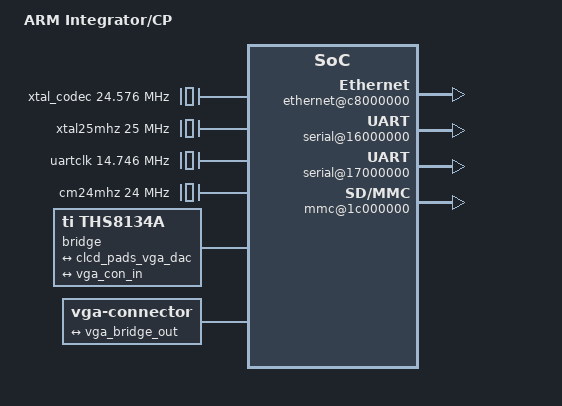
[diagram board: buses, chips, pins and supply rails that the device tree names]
// SPDX-License-Identifier: GPL-2.0
/*
 * Device Tree for the ARM Integrator/CP platform
 */

/dts-v1/;
/include/ "integrator.dtsi"

/ {
	model = "ARM Integrator/CP";
	compatible = "arm,integrator-cp";

	chosen {
		bootargs = "root=/dev/ram0 console=ttyAMA0,38400n8 earlyprintk";
	};

	cpus {
		#address-cells = <1>;
		#size-cells = <0>;

		cpu@0 {
			device_type = "cpu";
			/*
			 * Since the board has pluggable CPU modules, we
			 * cannot define a proper compatible here. Let the
			 * boot loader fill in the apropriate compatible
			 * string if necessary.
			 */
			/* compatible = "arm,arm920t"; */
			reg = <0>;
			/*
			 * TBD comment.
			 */
					 /* kHz     uV   */
			operating-points = <50000  0
					    48000  0>;
			clocks = <&cmcore>;
			clock-names = "cpu";
			clock-latency = <1000000>; /* 1 ms */
		};
	};

	/*
	 * The Integrator/CP overall clocking architecture can be found in
	 * ARM DUI 0184B page 7-28 "Integrator/CP922T system clocks" which
	 * appear to illustrate the layout used in most configurations.
	 */

	/* The codec chrystal operates at 24.576 MHz */
	xtal_codec: xtal24.576@24.576M {
		#clock-cells = <0>;
		compatible = "fixed-clock";
		clock-frequency = <24576000>;
	};

	/* The chrystal is divided by 2 by the codec for the AACI bit clock */
	aaci_bitclk: aaci_bitclk@12.288M {
		#clock-cells = <0>;
		compatible = "fixed-factor-clock";
		clock-div = <2>;
		clock-mult = <1>;
		clocks = <&xtal_codec>;
	};

	/* This is a 25MHz chrystal on the base board */
	xtal25mhz: xtal25mhz@25M {
		#clock-cells = <0>;
		compatible = "fixed-clock";
		clock-frequency = <25000000>;
	};

	/* The UART clock is 14.74 MHz divided from 25MHz by an ICS525 */
	uartclk: uartclk@14.74M {
		#clock-cells = <0>;
		compatible = "fixed-clock";
		clock-frequency = <14745600>;
	};

	/* Actually sysclk I think */
	pclk: pclk@0 {
		#clock-cells = <0>;
		compatible = "fixed-clock";
		clock-frequency = <0>;
	};

	core-module@10000000 {
		/* 24 MHz chrystal on the core module */
		cm24mhz: cm24mhz@24M {
			#clock-cells = <0>;
			compatible = "fixed-clock";
			clock-frequency = <24000000>;
		};

		/* Oscillator on the core module, clocks the CPU core */
		cmcore: clock-controller@8 {
			compatible = "arm,syscon-icst525-integratorcp-cm-core";
			reg = <0x08 0x04>;
			#clock-cells = <0>;
			lock-offset = <0x14>;
			vco-offset = <0x08>;
			clocks = <&cm24mhz>;
		};

		/* Oscillator on the core module, clocks the memory bus */
		cmmem: clock-controller@8,12 {
			compatible = "arm,syscon-icst525-integratorcp-cm-mem";
			reg = <0x08 0x04>;
			#clock-cells = <0>;
			lock-offset = <0x14>;
			vco-offset = <0x08>;
			clocks = <&cm24mhz>;
		};

		/* Auxilary oscillator on the core module, clocks the CLCD */
		auxosc: clock-controller@1c {
			compatible = "arm,syscon-icst525";
			reg = <0x1c 0x04>;
			#clock-cells = <0>;
			lock-offset = <0x14>;
			vco-offset = <0x1c>;
			clocks = <&cm24mhz>;
		};

		/* The KMI clock is the 24 MHz oscillator divided to 8MHz */
		kmiclk: kmiclk@1M {
			#clock-cells = <0>;
			compatible = "fixed-factor-clock";
			clock-div = <3>;
			clock-mult = <1>;
			clocks = <&cm24mhz>;
		};

		/* The timer clock is the 24 MHz oscillator divided to 1MHz */
		timclk: timclk@1M {
			#clock-cells = <0>;
			compatible = "fixed-factor-clock";
			clock-div = <24>;
			clock-mult = <1>;
			clocks = <&cm24mhz>;
		};
	};

	syscon {
		compatible = "arm,integrator-cp-syscon", "syscon";
		reg = <0xcb000000 0x100>;
	};

	timer0: timer@13000000 {
		/* TIMER0 runs directly on the 25MHz chrystal */
		compatible = "arm,integrator-cp-timer";
		clocks = <&xtal25mhz>;
	};

	timer1: timer@13000100 {
		/* TIMER1 runs @ 1MHz */
		compatible = "arm,integrator-cp-timer";
		clocks = <&timclk>;
	};

	timer2: timer@13000200 {
		/* TIMER2 runs @ 1MHz */
		compatible = "arm,integrator-cp-timer";
		clocks = <&timclk>;
	};

	pic: pic@14000000 {
		valid-mask = <0x1fc003ff>;
	};

	cic: cic@10000040 {
		compatible = "arm,versatile-fpga-irq";
		#interrupt-cells = <1>;
		interrupt-controller;
		reg = <0x10000040 0x100>;
		clear-mask = <0xffffffff>;
		valid-mask = <0x00000007>;
	};

	/* The SIC is cascaded off IRQ 26 on the PIC */
	sic: sic@ca000000 {
		compatible = "arm,versatile-fpga-irq";
		interrupt-parent = <&pic>;
		interrupts = <26>;
		#interrupt-cells = <1>;
		interrupt-controller;
		reg = <0xca000000 0x100>;
		clear-mask = <0x00000fff>;
		valid-mask = <0x00000fff>;
	};

	ethernet@c8000000 {
		compatible = "smsc,lan91c111";
		reg = <0xc8000000 0x10>;
		interrupt-parent = <&pic>;
		interrupts = <27>;
	};

	bridge {
		compatible = "ti,ths8134a", "ti,ths8134";
		#address-cells = <1>;
		#size-cells = <0>;

		ports {
			#address-cells = <1>;
			#size-cells = <0>;

			port@0 {
				reg = <0>;

				vga_bridge_in: endpoint {
					remote-endpoint = <&clcd_pads_vga_dac>;
				};
			};

			port@1 {
				reg = <1>;

				vga_bridge_out: endpoint {
					remote-endpoint = <&vga_con_in>;
				};
			};
		};
	};

	vga {
		compatible = "vga-connector";

		port {
			vga_con_in: endpoint {
				remote-endpoint = <&vga_bridge_out>;
			};
		};
	};

	fpga {
		/*
		 * These PrimeCells are at the same location and using
		 * the same interrupts in all Integrators, but in the CP
		 * slightly newer versions are deployed.
		 */
		rtc@15000000 {
			compatible = "arm,pl031", "arm,primecell";
			clocks = <&pclk>;
			clock-names = "apb_pclk";
		};

		serial@16000000 {
			compatible = "arm,pl011", "arm,primecell";
			clocks = <&uartclk>, <&pclk>;
			clock-names = "uartclk", "apb_pclk";
		};

		serial@17000000 {
			compatible = "arm,pl011", "arm,primecell";
			clocks = <&uartclk>, <&pclk>;
			clock-names = "uartclk", "apb_pclk";
		};

		kmi@18000000 {
			compatible = "arm,pl050", "arm,primecell";
			clocks = <&kmiclk>, <&pclk>;
			clock-names = "KMIREFCLK", "apb_pclk";
		};

		kmi@19000000 {
			compatible = "arm,pl050", "arm,primecell";
			clocks = <&kmiclk>, <&pclk>;
			clock-names = "KMIREFCLK", "apb_pclk";
		};

		/*
		 * These PrimeCells are only available on the Integrator/CP
		 */
		mmc@1c000000 {
			compatible = "arm,pl180", "arm,primecell";
			reg = <0x1c000000 0x1000>;
			interrupts = <23 24>;
			max-frequency = <515633>;
			clocks = <&uartclk>, <&pclk>;
			clock-names = "mclk", "apb_pclk";
		};

		aaci@1d000000 {
			compatible = "arm,pl041", "arm,primecell";
			reg = <0x1d000000 0x1000>;
			interrupts = <25>;
			clocks = <&pclk>;
			clock-names = "apb_pclk";
		};

		clcd@c0000000 {
			compatible = "arm,pl110", "arm,primecell";
			reg = <0xC0000000 0x1000>;
			interrupts = <22>;
			clocks = <&auxosc>, <&pclk>;
			clock-names = "clcdclk", "apb_pclk";
			/* 640x480 16bpp @ 25.175MHz is 36827428 bytes/s */
			max-memory-bandwidth = <40000000>;

			/*
			 * This port is routed through a PLD (Programmable
			 * Logic Device) that routes the output from the CLCD
			 * (after transformations) to the VGA DAC and also an
			 * external panel connector. The PLD is essential for
			 * supporting RGB565/BGR565.
			 *
			 * The signals from the port thus reaches two endpoints.
			 * The PLD is managed through a few special bits in the
			 * FPGA "sysreg".
			 *
			 * This arrangement can be clearly seen in
			 * ARM DUI 0225D, page 3-41, figure 3-19.
			 */
			port@0 {
				clcd_pads_vga_dac: endpoint {
					remote-endpoint = <&vga_bridge_in>;
					arm,pl11x,tft-r0g0b0-pads = <0 8 16>;
				};
			};
		};
	};
};
